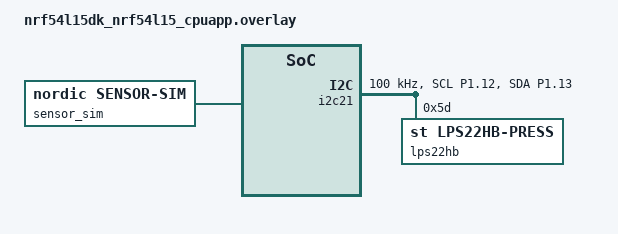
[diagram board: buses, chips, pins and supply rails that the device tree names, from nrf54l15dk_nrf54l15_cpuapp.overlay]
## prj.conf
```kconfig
CONFIG_STDOUT_CONSOLE=y
CONFIG_I2C=y
CONFIG_SENSOR=y
CONFIG_CBPRINTF_FP_SUPPORT=y

# Enable Zephyr Shell and I2C Shell
CONFIG_SHELL=y
CONFIG_I2C_SHELL=y

# Enable Sensor Shell
CONFIG_SENSOR_SHELL=y
```

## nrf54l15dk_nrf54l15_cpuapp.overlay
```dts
/ {
    sensor_sim: sensor_sim{
       compatible = "nordic,sensor-sim";
       acc-signal = "wave";
       base-temperature = < 15 >;
       base-pressure = < 90 >;
    };
};


&i2c21 {
	status = "okay";
	pinctrl-0 = <&i2c21_default>;
        pinctrl-1 = <&i2c21_sleep>;
	pinctrl-names = "default", "sleep";
	clock-frequency = <I2C_BITRATE_STANDARD>;

	lps22hb: lps22hb@5d{
		compatible = "st,lps22hb-press";
		reg = <0x5d>;
	};
};

&pinctrl {
         i2c21_default: i2c21_default {
                 group1  {
                         psels = <NRF_PSEL(TWIM_SCL, 1, 12)>,
                                 <NRF_PSEL(TWIM_SDA, 1, 13)>;
                 };
         };

           i2c21_sleep: i2c21_sleep {
                 group1  {
                         psels = <NRF_PSEL(TWIM_SCL, 1, 12)>,
                                 <NRF_PSEL(TWIM_SDA, 1, 13)>;
                         low-power-enable;
                 };
         };
};
```

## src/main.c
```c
/*
 * Copyright (c) 2025 Nordic Semiconductor ASA
 *
 * SPDX-License-Identifier: LicenseRef-Nordic-5-Clause
 */

#include <zephyr/kernel.h>
#include <zephyr/drivers/sensor.h>


static void process_sample(const struct device *dev)
{
	struct sensor_value pressure, temp;

	// Fetch a sample from the sensor and store it in an internal driver buffer
	if (sensor_sample_fetch(dev) < 0) {
		printk("Error: Sensor sample update error\n");
		return;
	}

	// Get a reading from a sensor device (read pressure)
	if (sensor_channel_get(dev, SENSOR_CHAN_PRESS, &pressure) < 0) {
		printk("Error: Cannot read LPS22HB pressure channel\n");
		return;
	}

	// Get a reading from a sensor device (read temperature)	
	if (sensor_channel_get(dev, SENSOR_CHAN_AMBIENT_TEMP, &temp) < 0) {
		printk("Error: Cannot read LPS22HB temperature channel\n");
		return;
	}

	/* display pressure */
	printk("pressure: %d.%d kPa, ", pressure.val1, pressure.val2);
	//printk("Pressure: %.1f kPa, ", sensor_value_to_double(&pressure));

	/* display temperature */
	printk("Temperature: %.1f C\n", sensor_value_to_double(&temp));
}


int main(void)
{
	printk("sensor_sim Demo\n");

//	#define SENSOR_NODE DT_NODELABEL(lps22hb)
	#define SENSOR_NODE DT_NODELABEL(sensor_sim)
	const struct device *const dev = DEVICE_DT_GET(SENSOR_NODE);
	if (!device_is_ready(dev)) {
		printk("Sensor is not ready %s\n", dev->name);
		return 0;
	}
	printk("Sensor is ready!\n");

	while (true) {
		process_sample(dev);
		k_sleep(K_MSEC(2000));
	}
	return 0;
}
```
